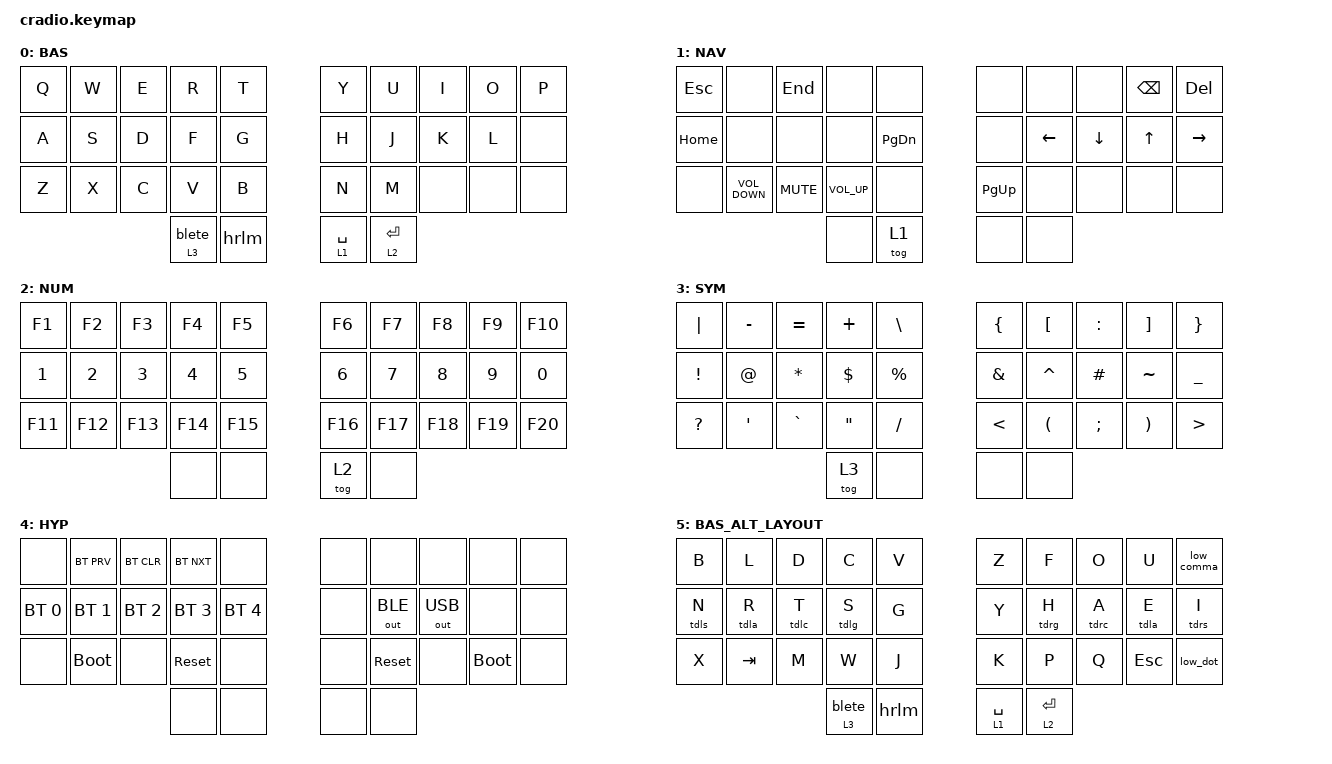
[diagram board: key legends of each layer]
// Copyright (c) 2022 The ZMK Contributors
// SPDX-License-Identifier: MIT

#include <behaviors.dtsi>
#include <dt-bindings/zmk/bt.h>
#include <dt-bindings/zmk/keys.h>
#include <dt-bindings/zmk/outputs.h>

/ {
    behaviors {
        hkr: hold_key_repeat {
            compatible = "zmk,behavior-hold-tap";
            label = "hold_key_repeat";
            bindings = <&kp>, <&key_repeat>;

            #binding-cells = <2>;
            tapping-term-ms = <200>;
            quick-tap-ms = <150>;
        };

        hrlm: hold_key_repeat_layer_morph {
            compatible = "zmk,behavior-mod-morph";
            label = "hold_key_repeat_layer_morph";
            bindings = <&hkr LEFT_SHIFT 0>, <&kp RIGHT_ALT>;

            #binding-cells = <0>;
            mods = <(MOD_LSFT|MOD_RSFT)>;
        };

        blete: blete {
            compatible = "zmk,behavior-mod-morph";
            label = "Mod Morph Behaviour";
            bindings = <&kp BACKSPACE>, <&kp DELETE>;

            #binding-cells = <0>;
            keep-mods = <(MOD_LCTL|MOD_LALT|MOD_LGUI|MOD_RALT|MOD_RGUI|MOD_RCTL)>;
            mods = <(MOD_LSFT|MOD_RSFT)>;
        };

        blm: backspace_layer_morph {
            compatible = "zmk,behavior-hold-tap";
            label = "backspace_layer_morph";
            bindings = <&mo>, <&blete>;

            #binding-cells = <2>;
            tapping-term-ms = <200>;
            quick-tap-ms = <150>;
        };

        tdls: toggle_duplicate_left_shift {
            compatible = "zmk,behavior-mod-morph";
            label = "toggle_duplicate_left_shift";
            bindings = <&kp LEFT_SHIFT>, <&kt LEFT_SHIFT>;

            #binding-cells = <0>;
            mods = <(MOD_RSFT)>;
        };

        tdrs: toggle_duplicate_right_shift {
            compatible = "zmk,behavior-mod-morph";
            label = "toggle_duplicate_right_shift";
            bindings = <&kp RIGHT_SHIFT>, <&kt RIGHT_SHIFT>;

            #binding-cells = <0>;
            mods = <(MOD_LSFT)>;
        };

        tdlc: toggle_duplicate_left_ctrl {
            compatible = "zmk,behavior-mod-morph";
            label = "toggle_duplicate_left_ctrl";
            bindings = <&kp LEFT_CONTROL>, <&kt LEFT_CONTROL>;

            #binding-cells = <0>;
            mods = <(MOD_RCTL)>;
        };

        tdrc: toggle_duplicate_right_ctrl {
            compatible = "zmk,behavior-mod-morph";
            label = "toggle_duplicate_right_ctrl";
            bindings = <&kp RIGHT_CONTROL>, <&kt RIGHT_CONTROL>;

            #binding-cells = <0>;
            mods = <(MOD_LCTL)>;
        };

        tdla: toggle_duplicate_left_alt {
            compatible = "zmk,behavior-mod-morph";
            label = "toggle_duplicate_left_alt";
            bindings = <&kp LEFT_ALT>, <&kt LEFT_ALT>;

            #binding-cells = <0>;
            mods = <(MOD_LALT|MOD_RALT)>;
        };

        tdra: toggle_duplicate_right_alt {
            compatible = "zmk,behavior-mod-morph";
            label = "toggle_duplicate_right_alt";
            bindings = <&kp RIGHT_ALT>, <&kt RIGHT_ALT>;

            #binding-cells = <0>;
            mods = <(MOD_LALT)>;
        };

        tdlg: toggle_duplicate_left_gui {
            compatible = "zmk,behavior-mod-morph";
            label = "toggle_duplicate_left_gui";
            bindings = <&kp LEFT_GUI>, <&kt LEFT_GUI>;

            #binding-cells = <0>;
            mods = <(MOD_RGUI)>;
        };

        tdrg: toggle_duplicate_right_gui {
            compatible = "zmk,behavior-mod-morph";
            label = "toggle_duplicate_right_gui";
            bindings = <&kp RIGHT_GUI>, <&kt RIGHT_GUI>;

            #binding-cells = <0>;
            mods = <(MOD_LGUI)>;
        };

        hmls: homerow_mod_left_shift {
            compatible = "zmk,behavior-hold-tap";
            label = "homerow_mod_left_shift";
            bindings = <&tdls>, <&kp>;

            #binding-cells = <2>;
            tapping-term-ms = <200>;
            quick-tap-ms = <150>;
            global-quick-tap;
            flavor = "tap-preferred";
        };

        hmrs: homerow_mod_right_shift {
            compatible = "zmk,behavior-hold-tap";
            label = "homerow_mod_right_shift";
            bindings = <&tdrs>, <&kp>;

            #binding-cells = <2>;
            tapping-term-ms = <200>;
            quick-tap-ms = <150>;
            flavor = "tap-preferred";
            global-quick-tap;
        };

        hmlc: homerow_mod_left_ctrl {
            compatible = "zmk,behavior-hold-tap";
            label = "homerow_mod_left_ctrl";
            bindings = <&tdlc>, <&kp>;

            #binding-cells = <2>;
            tapping-term-ms = <200>;
            quick-tap-ms = <150>;
            global-quick-tap;
            flavor = "tap-preferred";
        };

        hmrc: homerow_mod_right_ctrl {
            compatible = "zmk,behavior-hold-tap";
            label = "homerow_mod_right_ctrl";
            bindings = <&tdrc>, <&kp>;

            #binding-cells = <2>;
            quick-tap-ms = <150>;
            tapping-term-ms = <200>;
            flavor = "tap-preferred";
            global-quick-tap;
        };

        hmla: homerow_mod_left_alt {
            compatible = "zmk,behavior-hold-tap";
            label = "homerow_mod_left_alt";
            bindings = <&tdla>, <&kp>;

            #binding-cells = <2>;
            tapping-term-ms = <200>;
            quick-tap-ms = <150>;
            global-quick-tap;
            flavor = "tap-preferred";
        };

        hmra: homerow_mod_right_alt {
            compatible = "zmk,behavior-hold-tap";
            label = "homerow_mod_right_alt";
            bindings = <&tdra>, <&kp>;

            #binding-cells = <2>;
            tapping-term-ms = <200>;
            quick-tap-ms = <150>;
            global-quick-tap;
            flavor = "tap-preferred";
        };

        hmlg: homerow_mod_left_gui {
            compatible = "zmk,behavior-hold-tap";
            label = "homerow_mod_left_gui";
            bindings = <&tdlg>, <&kp>;

            #binding-cells = <2>;
            tapping-term-ms = <200>;
            quick-tap-ms = <150>;
            global-quick-tap;
            flavor = "tap-preferred";
        };

        hmrg: homerow_mod_right_gui {
            compatible = "zmk,behavior-hold-tap";
            label = "homerow_mod_right_gui";
            bindings = <&tdrg>, <&kp>;

            #binding-cells = <2>;
            tapping-term-ms = <200>;
            quick-tap-ms = <150>;
            global-quick-tap;
            flavor = "tap-preferred";
        };

        low_dot: lowercase_dot {
            compatible = "zmk,behavior-mod-morph";
            label = "lowercase_dot";
            bindings = <&kp DOT>, <&none>;

            #binding-cells = <0>;
            mods = <(MOD_LSFT|MOD_RSFT)>;
        };

        low_comma: lowercase_comma {
            compatible = "zmk,behavior-mod-morph";
            label = "lowercase_comma";
            bindings = <&kp COMMA>, <&none>;

            #binding-cells = <0>;
            mods = <(MOD_LSFT|MOD_RSFT)>;
        };

        hthp: hold_tap_hold_preferred {
            compatible = "zmk,behavior-hold-tap";
            label = "hold_tap_hold_preferred";
            bindings = <&mo>, <&kp>;

            #binding-cells = <2>;
            tapping-term-ms = <200>;
            quick-tap-ms = <150>;
        };
    };

    conditional_layers {
        compatible = "zmk,conditional-layers";

        tri_layer {
            if-layers = <1 2>;
            then-layer = <3>;
        };
    };

    combos {
        compatible = "zmk,combos";

        HYP_left {
            bindings = <&tog 4>;
            key-positions = <4 24>;
            layers = <0 4>;
            slow-release;
        };

        HYP_right {
            bindings = <&tog 4>;
            key-positions = <5 25>;
            layers = <0 4>;
            slow-release;
        };
    };

    keymap {
        compatible = "zmk,keymap";

        Base {
            bindings = <
  &kp Q  &kp W  &kp E  &kp R     &kp T    &kp Y        &kp U          &kp I  &kp O  &kp P
  &kp A  &kp S  &kp D  &kp F     &kp G    &kp H        &kp J          &kp K  &kp L  &none
  &kp Z  &kp X  &kp C  &kp V     &kp B    &kp N        &kp M          &none  &none  &none
                       &blm 3 0  &hrlm    &lt 1 SPACE  &hthp 2 ENTER
            >;

            label = "BAS";
        };

        Navigation {
            bindings = <
  &kp ESCAPE  &none              &kp END     &none            &none            &none        &none           &none           &kp BSPC      &kp DEL
  &kp HOME    &none              &none       &none            &kp PAGE_DOWN    &none        &kp LEFT_ARROW  &kp DOWN_ARROW  &kp UP_ARROW  &kp RIGHT_ARROW
  &none       &kp C_VOLUME_DOWN  &kp C_MUTE  &kp C_VOLUME_UP  &none            &kp PAGE_UP  &none           &none           &none         &none
                                             &none            &tog 1           &none        &none
            >;

            label = "NAV";
        };

        Numbers {
            bindings = <
  &kp F1        &kp F2        &kp F3        &kp F4        &kp F5          &kp F6        &kp F7        &kp F8        &kp F9        &kp F10
  &kp NUMBER_1  &kp NUMBER_2  &kp NUMBER_3  &kp NUMBER_4  &kp NUMBER_5    &kp NUMBER_6  &kp NUMBER_7  &kp NUMBER_8  &kp NUMBER_9  &kp NUMBER_0
  &kp F11       &kp F12       &kp F13       &kp F14       &kp F15         &kp F16       &kp F17       &kp F18       &kp F19       &kp F20
                                            &none         &none           &tog 2        &none
            >;

            label = "NUM";
        };

        Symbols {
            bindings = <
  &kp PIPE         &kp MINUS         &kp EQUAL     &kp PLUS           &kp BACKSLASH    &kp LEFT_BRACE  &kp LEFT_BRACKET      &kp COLON      &kp RIGHT_BRACKET      &kp RIGHT_BRACE
  &kp EXCLAMATION  &kp AT_SIGN       &kp ASTERISK  &kp DOLLAR         &kp PERCENT      &kp AMPERSAND   &kp CARET             &kp HASH       &kp TILDE              &kp UNDERSCORE
  &kp QUESTION     &kp SINGLE_QUOTE  &kp GRAVE     &kp DOUBLE_QUOTES  &kp SLASH        &kp LESS_THAN   &kp LEFT_PARENTHESIS  &kp SEMICOLON  &kp RIGHT_PARENTHESIS  &kp GREATER_THAN
                                                   &tog 3             &none            &none           &none
            >;

            label = "SYM";
        };

        Hyper {
            bindings = <
  &none         &bt BT_PRV    &bt BT_CLR    &bt BT_NXT    &none           &none  &none         &none         &none        &none
  &bt BT_SEL 0  &bt BT_SEL 1  &bt BT_SEL 2  &bt BT_SEL 3  &bt BT_SEL 4    &none  &out OUT_BLE  &out OUT_USB  &none        &none
  &none         &bootloader   &none         &sys_reset    &none           &none  &sys_reset    &none         &bootloader  &none
                                            &none         &none           &none  &none
            >;

            label = "HYP";
        };

        layer_5 {
            label = "BAS_ALT_LAYOUT";
            bindings = <
  &kp B      &kp L      &kp D      &kp C      &kp V    &kp Z        &kp F          &kp O      &kp U       &low_comma
  &hmls 0 N  &hmla 0 R  &hmlc 0 T  &hmlg 0 S  &kp G    &kp Y        &hmrg 0 H      &hmrc 0 A  &hmla 0 E   &hmrs 0 I
  &kp X      &kp TAB    &kp M      &kp W      &kp J    &kp K        &kp P          &kp Q      &kp ESCAPE  &low_dot
                                   &blm 3 0   &hrlm    &lt 1 SPACE  &hthp 2 ENTER
            >;
        };
    };
};
